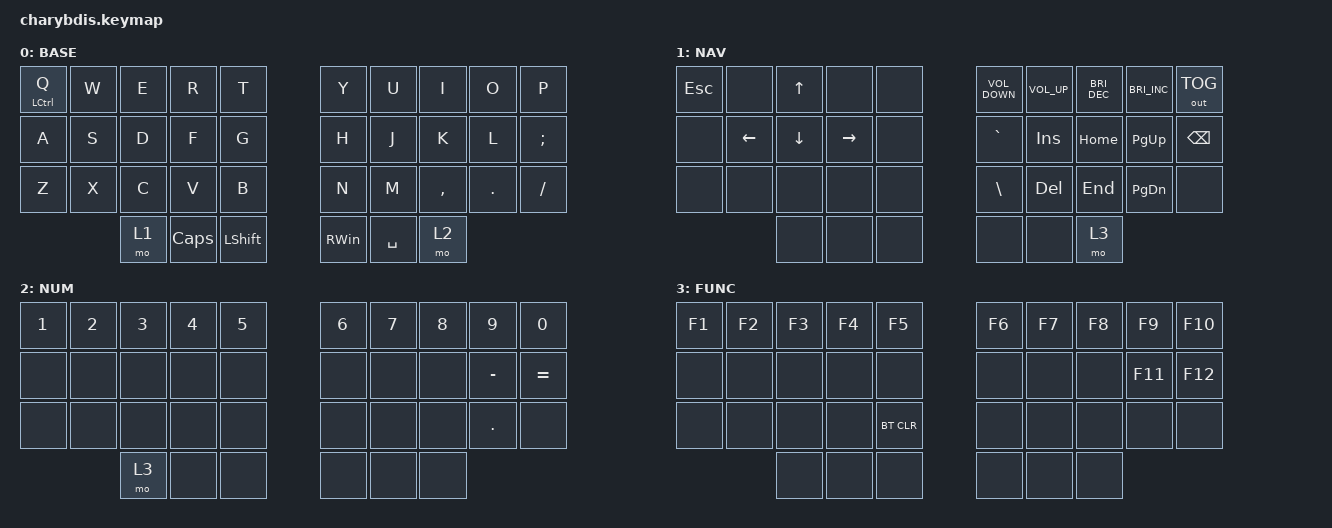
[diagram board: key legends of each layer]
#include <behaviors.dtsi>
#include <dt-bindings/zmk/bt.h>
#include <dt-bindings/zmk/keys.h>
#include <dt-bindings/zmk/outputs.h>

&lt {
    tapping-term-ms = <190>;
    flavor = "balanced";
    quick-tap-ms = <150>;
};

&mt {
    tapping-term-ms = <120>;
    quick-tap-ms = <100>;
    flavor = "balanced";
};

/ {
    combos {
        compatible = "zmk,combos";

        ParaLeft {
            bindings = <&kp LEFT_PARENTHESIS>;
            key-positions = <6 7>;
            timeout-ms = <50>;
            slow-release;
        };

        ParaRight {
            bindings = <&kp RIGHT_PARENTHESIS>;
            key-positions = <8 9>;
            timeout-ms = <50>;
            slow-release;
        };

        BrakLeft {
            bindings = <&kp LEFT_BRACKET>;
            key-positions = <26 27>;
            timeout-ms = <50>;
            slow-release;
        };

        BrakRight {
            bindings = <&kp RIGHT_BRACKET>;
            key-positions = <28 29>;
            timeout-ms = <50>;
            slow-release;
        };

        Esc {
            bindings = <&kp ESCAPE>;
            key-positions = <0 1>;
            timeout-ms = <50>;
            slow-release;
        };

        Tab {
            bindings = <&kp TAB>;
            key-positions = <10 11>;
            timeout-ms = <50>;
            slow-release;
        };

        Colon {
            bindings = <&kp COLON>;
            key-positions = <12 13>;
            timeout-ms = <50>;
            slow-release;
        };

        Quote {
            bindings = <&kp SINGLE_QUOTE>;
            key-positions = <18 19>;
            timeout-ms = <50>;
            slow-release;
        };

        Enter {
            bindings = <&kp ENTER>;
            key-positions = <16 17>;
            timeout-ms = <50>;
            slow-release;
        };

        Ctrl_A {
            bindings = <&kp LC(A)>;
            key-positions = <10 22>;
            timeout-ms = <50>;
            slow-release;
        };

        Ctrl_Z {
            bindings = <&kp LC(Z)>;
            key-positions = <22 20>;
            timeout-ms = <50>;
            slow-release;
        };

        Ctrl_Q {
            bindings = <&kp LC(Q)>;
            key-positions = <22 0>;
            timeout-ms = <50>;
            slow-release;
        };
    };

    keymap {
        compatible = "zmk,keymap";

        BASE {
            bindings = <
&mt LCTRL Q  &kp W  &kp E  &kp R     &kp T        &kp Y          &kp U      &kp I      &kp O    &kp P
&kp A        &kp S  &kp D  &kp F     &kp G        &kp H          &kp J      &kp K      &kp L    &kp SEMI
&kp Z        &kp X  &kp C  &kp V     &kp B        &kp N          &kp M      &kp COMMA  &kp DOT  &kp FSLH
                    &mo 1  &kp CAPS  &kp LSHFT    &kp RIGHT_WIN  &kp SPACE  &mo 2
            >;
        };

        NAV {
            bindings = <
&kp ESC  &none     &kp UP_ARROW  &none      &none    &kp C_VOLUME_DOWN  &kp C_VOLUME_UP  &kp C_BRIGHTNESS_DEC  &kp C_BRIGHTNESS_INC  &out OUT_TOG
&none    &kp LEFT  &kp DOWN      &kp RIGHT  &none    &kp GRAVE          &kp INS          &kp HOME              &kp PAGE_UP           &kp BACKSPACE
&none    &none     &none         &none      &none    &kp BACKSLASH      &kp DELETE       &kp END               &kp PAGE_DOWN         &none
                   &none         &none      &none    &none              &none            &mo 3
            >;
        };

        NUM {
            bindings = <
&kp N1  &kp N2  &kp N3  &kp N4  &kp N5    &kp N6  &kp N7  &kp N8  &kp N9      &kp N0
&none   &none   &none   &none   &none     &none   &none   &none   &kp MINUS   &kp EQUAL
&none   &none   &none   &none   &none     &none   &none   &none   &kp PERIOD  &none
                &mo 3   &none   &none     &none   &none   &none
            >;
        };

        FUNC {
            bindings = <
&kp F1  &kp F2  &kp F3  &kp F4  &kp F5        &kp F6  &kp F7  &kp F8  &kp F9   &kp F10
&none   &none   &none   &none   &none         &none   &none   &none   &kp F11  &kp F12
&none   &none   &none   &none   &bt BT_CLR    &none   &none   &none   &none    &none
                &none   &none   &none         &none   &none   &none
            >;
        };
    };
};
